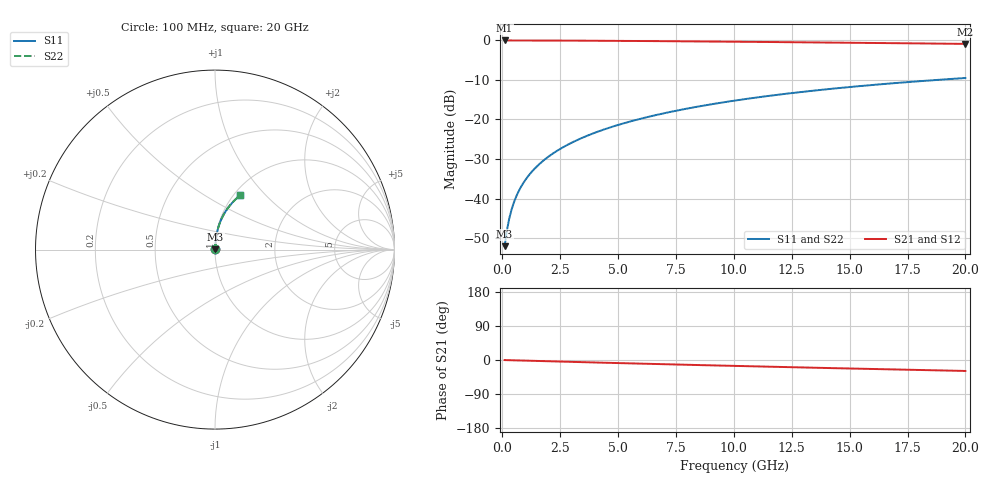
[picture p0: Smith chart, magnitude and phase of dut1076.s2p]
! Touchstone file exported from HFSS 2024.1.0
!  File:  C:/UserFiles/LocalFiles/RDL_TSV_Batchsim/temp_RDL_top_1076_1780045384.aedt
!  Generated:  05:05:08 PM May 29, 2026
!  Design:  RDL_top
!  Project:  temp_RDL_top_1076_1780045384
!  Setup:  Setup1
!  Solution:  Sweep
! Variables:
!  dtsv = 10.80580581um
!  hbump = 3um
!  htsv = 98.84um
!  ldown = 100um
!  lrdl = 339.62um
!  p = 40
!  p1 = 58.77um
!  rhole = 1um
!  t = 450um
!  tdown = 3.915915916um
!  trdl = 4.28um
!  wdown = 15.38538539um
!  wrdl = 17.3um
# GHz S MA R 50.000000
! Terminal data exported
! Port[1] = Box2_T1
! Port[2] = Box2_T2
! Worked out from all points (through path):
!   200 points, 100 MHz to 20 GHz, reference 50 ohm
!   highest |S21| = -0.02 dB at 100 MHz (marker M1); lowest = -0.9 dB at 20 GHz (marker M2)
!   group delay of S21, straight-line fit = 3.99 ps
!   lowest |S11| = -52.1 dB at 100 MHz (marker M3), VSWR 1.01, Z = 50.2 + j0.177 ohm
!   |S11| at or under -10 dB: start of sweep to 18.77 GHz
!   |S22| runs from -52.1 to -9.5 dB; largest |S21 - S12| = 2.1e-15
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0.1  0.002497 45.0  0.9982 -0.2  0.9982 -0.2  0.002497 45.0
! Gamma 0 0 0 0
! Port Impedance 50 0 50 0
0.2  0.00396 62.8  0.9982 -0.3  0.9982 -0.3  0.00396 62.8
0.3  0.005584 70.4  0.9981 -0.5  0.9981 -0.5  0.005583 70.4
0.4  0.007245 74.5  0.998 -0.7  0.998 -0.7  0.007245 74.4
0.5  0.008914 76.9  0.9979 -0.8  0.9979 -0.8  0.008913 76.9
0.7  0.01225 79.8  0.9977 -1.2  0.9977 -1.2  0.01225 79.8
0.8  0.01391 80.7  0.9976 -1.3  0.9976 -1.3  0.01391 80.7
1  0.01724 82.0  0.9974 -1.7  0.9974 -1.7  0.01724 82.0
1.2  0.02057 82.9  0.9972 -2.0  0.9972 -2.0  0.02057 82.9
1.4  0.02391 83.5  0.9969 -2.3  0.9969 -2.3  0.02391 83.5
1.7  0.02894 84.2  0.9964 -2.8  0.9964 -2.8  0.02894 84.2
2  0.03398 84.5  0.9958 -3.3  0.9958 -3.3  0.03397 84.5
2.7  0.0458 84.8  0.9942 -4.5  0.9942 -4.5  0.0458 84.8
3.5  0.05941 84.7  0.9919 -5.8  0.9919 -5.8  0.05941 84.7
4.2  0.07141 84.3  0.9895 -6.9  0.9895 -6.9  0.07141 84.3
5  0.08522 83.7  0.9865 -8.1  0.9865 -8.1  0.08523 83.7
6.8  0.1166 82.0  0.9786 -10.9  0.9786 -10.9  0.1166 82.0
8.4  0.1446 80.2  0.9708 -13.2  0.9708 -13.2  0.1446 80.2
10.1  0.1743 78.1  0.962 -15.7  0.962 -15.7  0.1743 78.1
13.4  0.2307 73.7  0.9437 -20.3  0.9437 -20.3  0.2308 73.7
16.7  0.2844 69.3  0.924 -24.7  0.924 -24.7  0.2844 69.3
20  0.3344 64.9  0.9033 -28.9  0.9033 -28.9  0.3344 64.9
